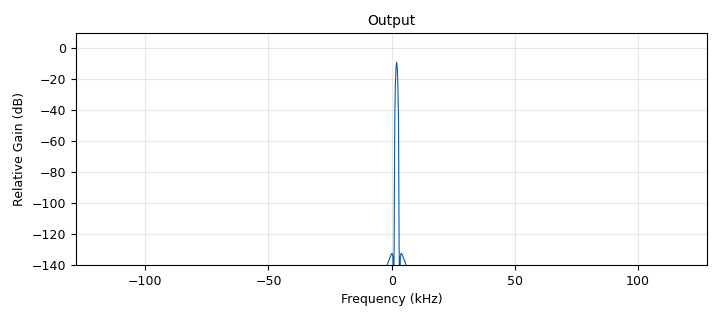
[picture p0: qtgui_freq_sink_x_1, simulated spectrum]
<?xml version='1.0' encoding='utf-8'?>
<?grc format='1' created='3.7.13'?>
<flow_graph>
<block>
<key>options</key>
<param><key>id</key><value>top_block</value></param>
<param><key>generate_options</key><value>qt_gui</value></param>
</block>
<block>
<key>variable</key>
<param><key>id</key><value>c</value></param>
<param><key>value</key><value>299792458</value></param>
</block>
<block>
<key>variable</key>
<param><key>id</key><value>carrier_freq</value></param>
<param><key>value</key><value>2.421e9</value></param>
</block>
<block>
<key>variable</key>
<param><key>id</key><value>d</value></param>
<param><key>value</key><value>0.0619</value></param>
</block>
<block>
<key>variable_qtgui_range</key>
<param><key>id</key><value>delay_val</value></param>
<param><key>value</key><value>0</value></param>
<param><key>orient</key><value>Qt.Horizontal</value></param>
<param><key>start</key><value>0</value></param>
<param><key>step</key><value>1</value></param>
<param><key>stop</key><value>100</value></param>
<param><key>rangeType</key><value>int</value></param>
</block>
<block>
<key>variable_qtgui_range</key>
<param><key>id</key><value>delay_val_0</value></param>
<param><key>value</key><value>0</value></param>
<param><key>orient</key><value>Qt.Horizontal</value></param>
<param><key>start</key><value>0</value></param>
<param><key>step</key><value>1</value></param>
<param><key>stop</key><value>100</value></param>
<param><key>rangeType</key><value>int</value></param>
</block>
<block>
<key>variable</key>
<param><key>id</key><value>f_c1</value></param>
<param><key>value</key><value>frequency*0.5</value></param>
</block>
<block>
<key>variable</key>
<param><key>id</key><value>f_c2</value></param>
<param><key>value</key><value>1.5*frequency</value></param>
</block>
<block>
<key>variable</key>
<param><key>id</key><value>frequency</value></param>
<param><key>value</key><value>2e3</value></param>
</block>
<block>
<key>variable_qtgui_range</key>
<param><key>id</key><value>offset</value></param>
<param><key>value</key><value>7500</value></param>
<param><key>label</key><value>Center frequency offset (Hz)</value></param>
<param><key>orient</key><value>Qt.Horizontal</value></param>
<param><key>start</key><value>0</value></param>
<param><key>step</key><value>50</value></param>
<param><key>stop</key><value>10000</value></param>
<param><key>rangeType</key><value>int</value></param>
<param><key>widget</key><value>counter</value></param>
</block>
<block>
<key>variable</key>
<param><key>id</key><value>pi</value></param>
<param><key>value</key><value>3.1416</value></param>
</block>
<block>
<key>variable</key>
<param><key>id</key><value>rx_gain</value></param>
<param><key>value</key><value>76</value></param>
</block>
<block>
<key>variable</key>
<param><key>id</key><value>samp_rate</value></param>
<param><key>value</key><value>256e3</value></param>
</block>
<block>
<key>variable</key>
<param><key>id</key><value>trans_width</value></param>
<param><key>value</key><value>frequency/10</value></param>
</block>
<block>
<key>variable</key>
<param><key>id</key><value>tx_gain</value></param>
<param><key>value</key><value>89</value></param>
</block>
<block>
<key>analog_sig_source_x</key>
<param><key>id</key><value>analog_sig_source_x_0</value></param>
<param><key>amp</key><value>1</value></param>
<param><key>freq</key><value>frequency</value></param>
<param><key>offset</key><value>0</value></param>
<param><key>type</key><value>complex</value></param>
<param><key>samp_rate</key><value>samp_rate</value></param>
<param><key>waveform</key><value>analog.GR_SIN_WAVE</value></param>
</block>
<block>
<key>blocks_delay</key>
<param><key>id</key><value>blocks_delay_0</value></param>
<param><key>delay</key><value>delay_val</value></param>
<param><key>type</key><value>complex</value></param>
</block>
<block>
<key>blocks_delay</key>
<param><key>id</key><value>blocks_delay_0_0</value></param>
<param><key>delay</key><value>delay_val_0</value></param>
<param><key>type</key><value>complex</value></param>
</block>
<block>
<key>blocks_file_sink</key>
<param><key>id</key><value>blocks_file_sink_0</value></param>
<param><key>append</key><value>True</value></param>
<param><key>file</key><value>/Users/Antonio/Desktop/antenna1.bin</value></param>
<param><key>type</key><value>complex</value></param>
</block>
<block>
<key>blocks_file_sink</key>
<param><key>id</key><value>blocks_file_sink_0_0</value></param>
<param><key>append</key><value>True</value></param>
<param><key>file</key><value>/Users/Antonio/Desktop/antenna2.bin</value></param>
<param><key>type</key><value>complex</value></param>
</block>
<block>
<key>qtgui_freq_sink_x</key>
<param><key>id</key><value>qtgui_freq_sink_x_1</value></param>
<param><key>bw</key><value>samp_rate</value></param>
<param><key>fc</key><value>0</value></param>
<param><key>fftsize</key><value>1024</value></param>
<param><key>grid</key><value>True</value></param>
<param><key>name</key><value>"Output"</value></param>
<param><key>showports</key><value>True</value></param>
<param><key>type</key><value>complex</value></param>
<param><key>wintype</key><value>firdes.WIN_BLACKMAN_hARRIS</value></param>
</block>
<block>
<key>uhd_usrp_sink</key>
<param><key>id</key><value>uhd_usrp_sink_0</value></param>
<param><key>ant0</key><value>TX/RX</value></param>
<param><key>center_freq0</key><value>carrier_freq</value></param>
<param><key>norm_gain0</key><value>False</value></param>
<param><key>gain0</key><value>tx_gain</value></param>
<param><key>ant1</key><value>TX/RX</value></param>
<param><key>center_freq1</key><value>carrier_freq</value></param>
<param><key>norm_gain1</key><value>False</value></param>
<param><key>gain1</key><value>tx_gain</value></param>
<param><key>clock_rate</key><value>0.0</value></param>
<param><key>dev_addr</key><value></value></param>
<param><key>dev_args</key><value>""</value></param>
<param><key>type</key><value>fc32</value></param>
<param><key>nchan</key><value>2</value></param>
<param><key>samp_rate</key><value>samp_rate</value></param>
<param><key>hide_cmd_port</key><value>False</value></param>
<param><key>hide_lo_controls</key><value>True</value></param>
<param><key>sync</key><value></value></param>
<param><key>len_tag_name</key><value></value></param>
</block>
<connection><source_block_id>analog_sig_source_x_0</source_block_id><sink_block_id>blocks_delay_0</sink_block_id><source_key>0</source_key><sink_key>0</sink_key></connection>
<connection><source_block_id>analog_sig_source_x_0</source_block_id><sink_block_id>blocks_delay_0_0</sink_block_id><source_key>0</source_key><sink_key>0</sink_key></connection>
<connection><source_block_id>analog_sig_source_x_0</source_block_id><sink_block_id>qtgui_freq_sink_x_1</sink_block_id><source_key>0</source_key><sink_key>0</sink_key></connection>
<connection><source_block_id>blocks_delay_0</source_block_id><sink_block_id>blocks_file_sink_0</sink_block_id><source_key>0</source_key><sink_key>0</sink_key></connection>
<connection><source_block_id>blocks_delay_0</source_block_id><sink_block_id>uhd_usrp_sink_0</sink_block_id><source_key>0</source_key><sink_key>0</sink_key></connection>
<connection><source_block_id>blocks_delay_0_0</source_block_id><sink_block_id>blocks_file_sink_0_0</sink_block_id><source_key>0</source_key><sink_key>0</sink_key></connection>
<connection><source_block_id>blocks_delay_0_0</source_block_id><sink_block_id>uhd_usrp_sink_0</sink_block_id><source_key>0</source_key><sink_key>1</sink_key></connection>
</flow_graph>
